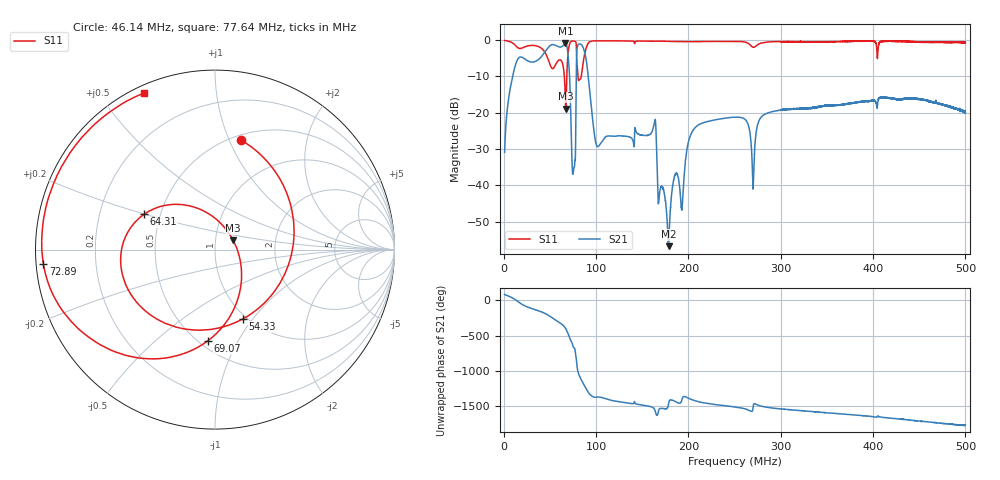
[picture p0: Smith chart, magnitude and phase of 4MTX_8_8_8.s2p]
! NanoVNA-App
! Date: 2026-08-18 20:53:11
! Start: 1MHz Stop: 500MHz Points: 6401
! S-Parameter data: F S11 S21 S12 S22
# Hz S RI R 50
!  Frequency  S11_Real  S11_Imag  S21_Real  S21_Imag  S12_Real  S12_Imag  S22_Real  S22_Imag
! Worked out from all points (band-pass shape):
!   6401 points, 1 MHz to 500 MHz, reference 50 ohm
!   highest |S21| = -0.90 dB at 66.88 MHz (marker M1); lowest = -56.8 dB at 178.5 MHz (marker M2)
!   |S21| within 3 dB of the highest: 42.83 MHz to 69.63 MHz (26.8 MHz wide, 47.7 % of centre); 78.97 MHz to 88.19 MHz (9.222 MHz wide, 11 % of centre)
!   lowest |S11| = -18.9 dB at 67.27 MHz (marker M3), VSWR 1.26, Z = 60.9 + j6.37 ohm
!   |S11| at or under -10 dB: 65.69 MHz to 68.34 MHz (2.653 MHz wide, 3.96 % of centre); 80.42 MHz to 84.01 MHz (3.597 MHz wide, 4.38 % of centre)
!   S12 and S22 are empty: the file has one direction only
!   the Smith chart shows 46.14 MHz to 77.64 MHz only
!   S11 on the Smith chart (normalised r, x): 46.14 MHz: 0.55, +1.11; 54.33 MHz: 0.96, -0.89; 64.31 MHz: 0.40, +0.20; 69.07 MHz: 0.55, -0.76; 72.89 MHz: 0.02, -0.04; 77.64 MHz: 0.03, +0.64
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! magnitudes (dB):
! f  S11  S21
! 1 MHz  -0.1  -30.9
! 14.49 MHz  -1.9  -5.6
! 46.14 MHz  -4.0  -2.7
! 54.33 MHz  -7.6  -1.3
! 64.31 MHz  -7.1  -1.5
! 66.88 MHz  -16.8  -0.9
! 67.27 MHz  -18.9  -0.9
! 69.07 MHz  -5.8  -2.6
! 72.89 MHz  -0.4  -23.2
! 75.54 MHz  -0.3  -36.1
! 77.64 MHz  -0.4  -32.2
! 84.19 MHz  -9.8  -1.3
! 101.2 MHz  -0.2  -29.3
! 162.6 MHz  -0.3  -23.5
! 167.4 MHz  -0.3  -45.0
! 178.5 MHz  -0.3  -56.8
! 204.9 MHz  -0.4  -24.9
! 250.5 MHz  -0.4  -21.2
! 270.1 MHz  -2.0  -41.1
! 333.7 MHz  -0.5  -18.6
! 416.9 MHz  -0.4  -16.0
! 500 MHz  -0.7  -20.0
